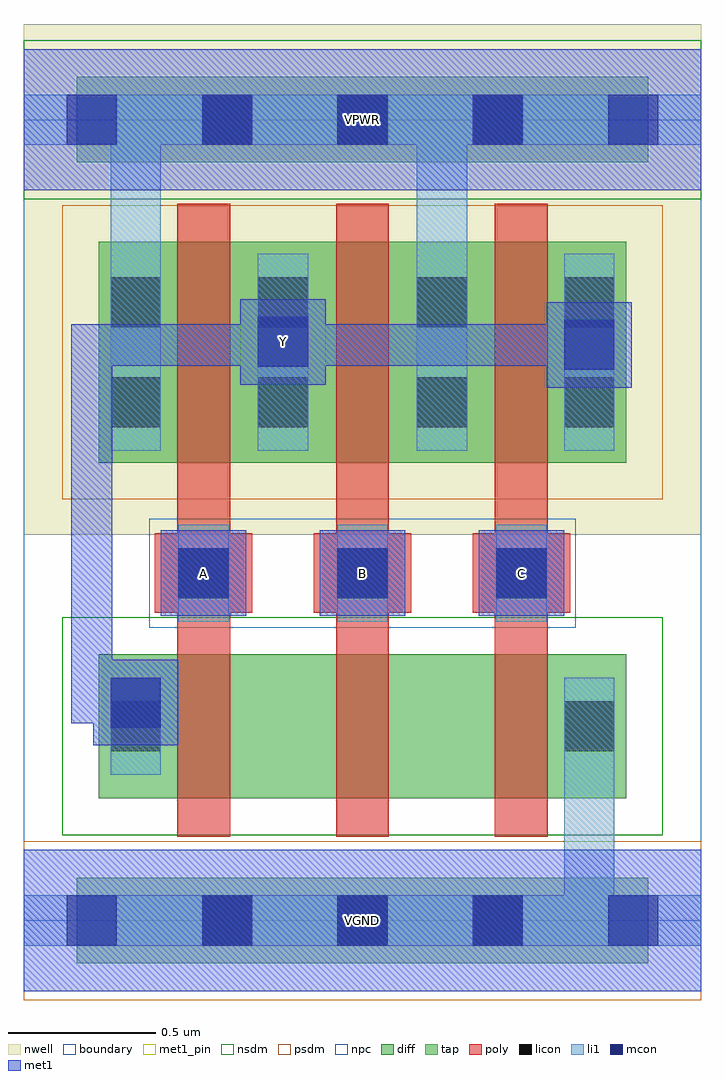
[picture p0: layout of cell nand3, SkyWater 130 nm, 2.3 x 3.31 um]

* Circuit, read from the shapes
.subckt nand3 A B C VGND VPWR Y
XM1 n1 A Y VGND sky130_fd_pr__nfet_01v8 w=0.49 l=0.18
XM2 n2 B n1 VGND sky130_fd_pr__nfet_01v8 w=0.49 l=0.18
XM3 VGND C n2 VGND sky130_fd_pr__nfet_01v8 w=0.49 l=0.18
XM4 Y A VPWR VPWR sky130_fd_pr__pfet_01v8 w=0.75 l=0.18
XM5 VPWR B Y VPWR sky130_fd_pr__pfet_01v8 w=0.75 l=0.18
XM6 Y C VPWR VPWR sky130_fd_pr__pfet_01v8 w=0.75 l=0.18
.ends

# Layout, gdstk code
import gdstk
lib = gdstk.Library(unit=1e-6, precision=1e-09)
def R(c, l, rs):  # rectangles x0, y0, x1, y1
    for r in rs: c.add(gdstk.rectangle(r[:2], r[2:], *l))
def A(c, l, x, y, w, h, nx, ny, dx, dy):  # array of equal rectangles
    R(c, l, [(x+i*dx, y+j*dy, x+i*dx+w, y+j*dy+h) for i in range(nx) for j in range(ny)])
nwell = (64, 20)
diff = (65, 20)
tap = (65, 44)
poly = (66, 20)
licon = (66, 44)
li1 = (67, 20)
mcon = (67, 44)
met1_pin = (68, 16)
met1 = (68, 20)
nsdm = (93, 44)
psdm = (94, 20)
npc = (95, 20)
boundary = (235, 4)

nand3 = lib.new_cell('nand3')
R(nand3, nwell, [(0,1.31,2.3,3.045)])
R(nand3, diff, [(0.255,0.415,2.045,0.905), (0.255,1.555,2.045,2.305)])
R(nand3, tap, [(0.18,-0.145,2.12,0.145), (0.18,2.575,2.12,2.865)])
A(nand3, poly, 0.52, 0.285, 0.18, 2.15, 3, 1, 0.54, 0)
A(nand3, poly, 0.445, 1.045, 0.33, 0.27, 3, 1, 0.54, 0)
A(nand3, licon, 0.605, -0.085, 0.17, 0.17, 3, 2, 0.46, 2.72)
A(nand3, licon, 0.525, 1.095, 0.17, 0.17, 3, 1, 0.54, 0)
R(nand3, licon, [(0.295,0.575,0.465,0.745), (1.835,0.575,2.005,0.745), (0.295,1.675,0.465,1.845), (0.795,1.675,0.965,1.845), (1.335,1.675,1.505,1.845), (1.835,1.675,2.005,1.845), (0.295,2.015,0.465,2.185), (0.795,2.015,0.965,2.185), (1.335,2.015,1.505,2.185), (1.835,2.015,2.005,2.185)])
A(nand3, li1, 0.525, 1.015, 0.17, 0.33, 3, 1, 0.54, 0)
R(nand3, li1, [(0,-0.085,2.3,0.085), (1.835,-0.085,2.005,0.825), (0.295,0.495,0.465,0.825), (1.835,0.495,2.005,0.825), (0.295,1.595,0.465,2.265), (0.295,1.595,0.465,2.805), (0.795,1.595,0.965,2.265), (1.335,1.595,1.505,2.265), (1.335,1.595,1.505,2.805), (1.835,1.595,2.005,2.265), (0,2.635,2.3,2.805)])
A(nand3, mcon, 0.145, -0.085, 0.17, 0.17, 5, 2, 0.46, 2.72)
A(nand3, mcon, 0.525, 1.095, 0.17, 0.17, 3, 1, 0.54, 0)
R(nand3, mcon, [(0.295,0.655,0.465,0.825), (1.835,1.87,2.005,2.04), (0.795,1.88,0.965,2.05)])
A(nand3, met1_pin, 0.465, 1.035, 0.29, 0.29, 3, 1, 0.54, 0)
R(nand3, met1_pin, [(0,-0.24,2.3,0.24), (0.735,1.82,1.025,2.11), (0,2.48,2.3,2.96)])
A(nand3, met1, 0.465, 1.035, 0.29, 0.29, 3, 1, 0.54, 0)
R(nand3, met1, [(0,-0.24,2.3,0.24), (0.235,0.595,0.525,0.885), (0.16,0.67,0.45,0.81), (0.16,0.67,0.3,0.99), (0.16,0.85,0.3,2.025), (1.775,1.81,2.065,2.1), (0.735,1.82,1.025,2.11), (0.16,1.885,0.99,2.025), (0.85,1.885,0.99,2.025), (0.85,1.885,1.795,2.025), (1.655,1.885,1.99,2.025), (0,2.48,2.3,2.96)])
R(nand3, nsdm, [(0.13,0.29,2.17,1.03), (0,2.45,2.3,2.99)])
R(nand3, psdm, [(0,-0.27,2.3,0.27), (0.13,1.43,2.17,2.43)])
R(nand3, npc, [(0.425,0.995,1.875,1.365)])
R(nand3, boundary, [(0,0,2.3,2.72)])
nand3.add(gdstk.Label('A', (0.61,1.18), layer=68, texttype=5))
nand3.add(gdstk.Label('B', (1.15,1.18), layer=68, texttype=5))
nand3.add(gdstk.Label('C', (1.69,1.18), layer=68, texttype=5))
nand3.add(gdstk.Label('Y', (0.88,1.965), layer=68, texttype=5))
nand3.add(gdstk.Label('VPWR', (1.15,2.72), layer=68, texttype=5))
nand3.add(gdstk.Label('VGND', (1.15,0), layer=68, texttype=5))
nand3.add(gdstk.Label('A', (0.61,1.18), layer=68, texttype=16))
nand3.add(gdstk.Label('B', (1.15,1.18), layer=68, texttype=16))
nand3.add(gdstk.Label('C', (1.69,1.18), layer=68, texttype=16))
nand3.add(gdstk.Label('Y', (0.88,1.965), layer=68, texttype=16))
nand3.add(gdstk.Label('VPWR', (1.15,2.72), layer=68, texttype=16))
nand3.add(gdstk.Label('VGND', (1.15,0), layer=68, texttype=16))

lib.write_gds('nand3.gds')
